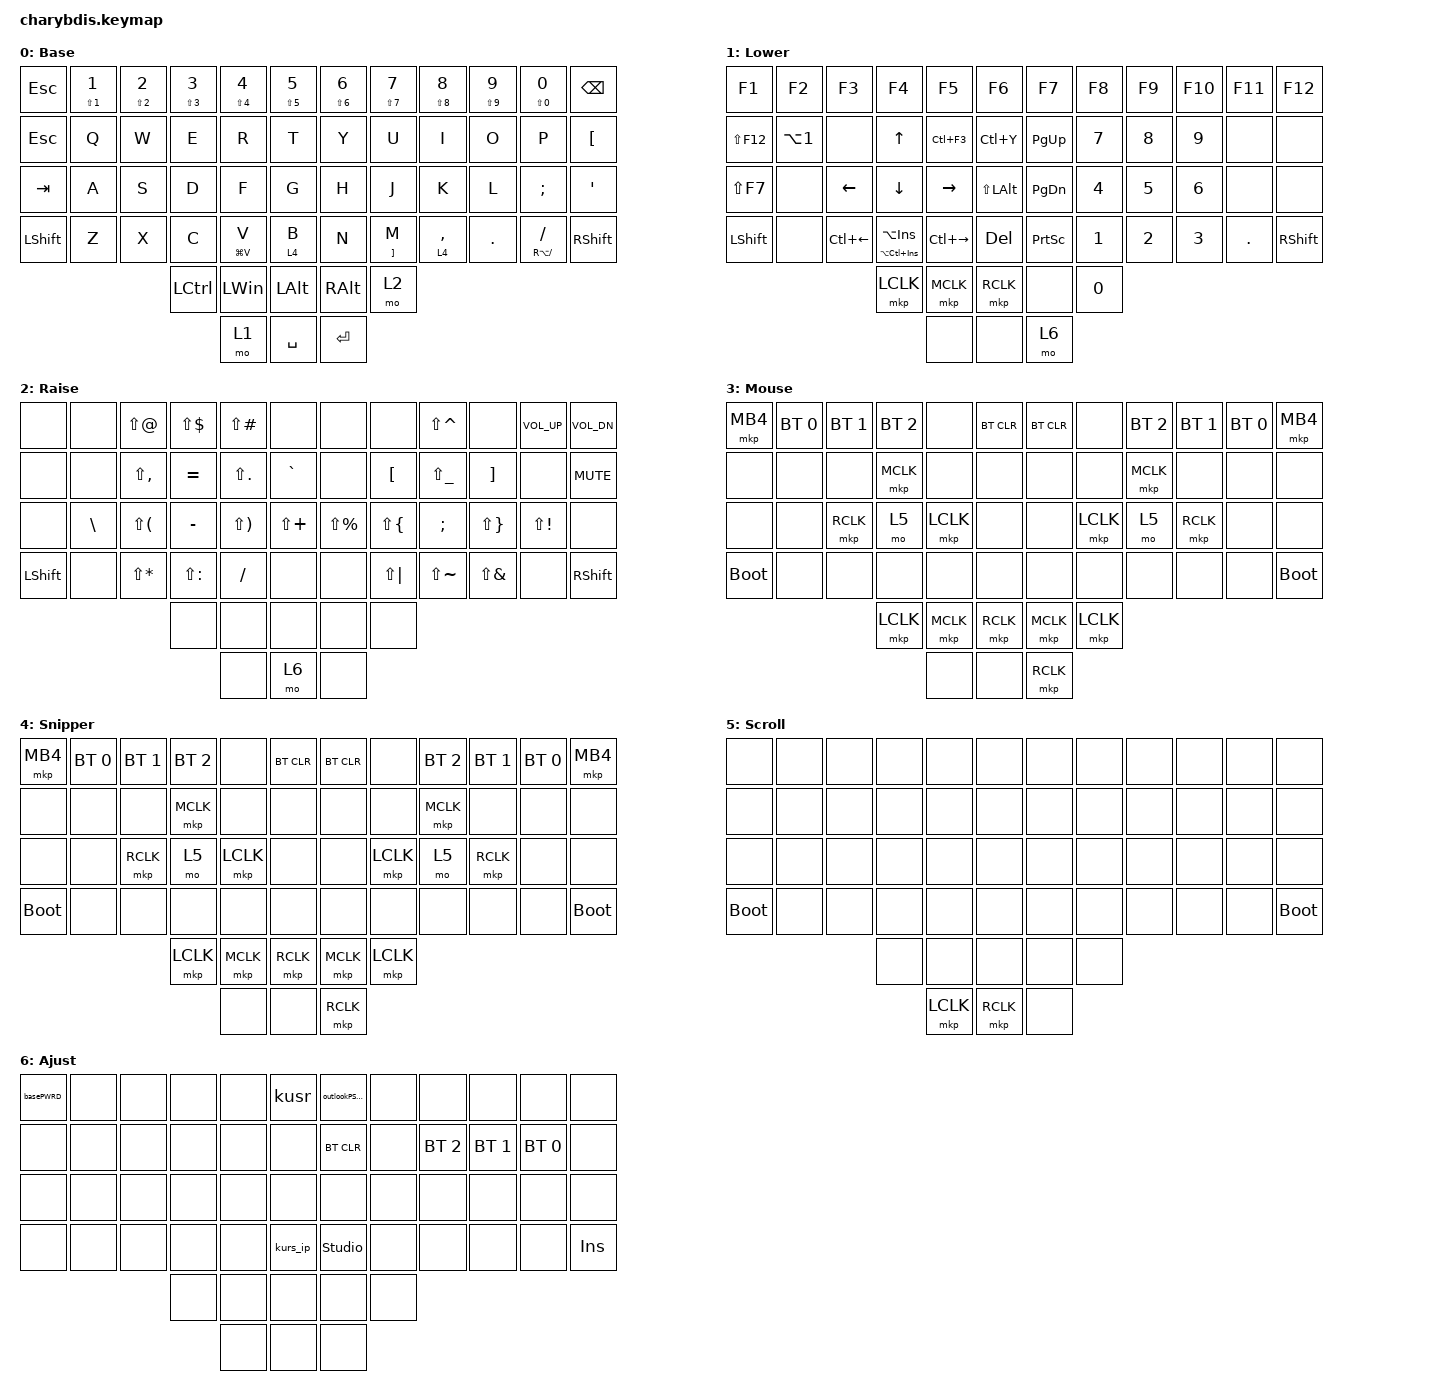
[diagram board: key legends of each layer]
#include <dt-bindings/zmk/mouse.h>
#include <behaviors.dtsi>
#include <dt-bindings/zmk/bt.h>
#include <dt-bindings/zmk/keys.h>
#include <dt-bindings/zmk/pointing.h>

&lt {
    tapping-term-ms = <250>;
    flavor = "balanced";
    quick-tap-ms = <175>;
};

/ {
    combos { compatible = "zmk,combos"; };

    macros {
        kusr: kusr {
            compatible = "zmk,behavior-macro";
            #binding-cells = <0>;
            bindings =
                <&kp BACKSPACE>,
                <&macro_wait_time 2000>,
                <&kp LS(G) &kp R &kp E &kp E &kp N &kp A &kp T &kp O &kp M &kp N2 &kp N0 &kp N2 &kp N0>,
                <&macro_wait_time 1000>,
                <&kp RET>;

            label = "KUSR";
        };

        kurs_ip: kurs_ip {
            compatible = "zmk,behavior-macro";
            #binding-cells = <0>;
            bindings =
                <&kp N1 &kp N9 &kp N2 &kp DOT &kp N1 &kp N6 &kp N8 &kp DOT &kp N1 &kp DOT &kp N1 &kp N7 &kp N4>,
                <&macro_wait_time 1000>,
                <&kp ENTER>;

            label = "KURS_IP";
        };

        basePWRD: basePWRD {
            compatible = "zmk,behavior-macro";
            #binding-cells = <0>;
            bindings =
                <&kp LS(G) &kp H &kp B &kp D &kp T &kp N &kp C &kp T &kp V &kp M &kp T &kp N3 &kp N2 &kp N1>,
                <&macro_wait_time 250>,
                <&kp ENTER>;

            label = "BASEPWRD";
        };

        outlookPSWD: outlookPSWD {
            compatible = "zmk,behavior-macro";
            #binding-cells = <0>;
            bindings =
                <&kp LS(W) &kp O &kp R &kp E &kp N1 &kp N0 &kp MINUS &kp LS(H) &kp I &kp L &kp L &kp MINUS &kp L &kp E &kp D &kp N6>,
                <&macro_wait_time 500>,
                <&kp ENTER>;

            label = "OUTLOOKPSWD";
        };
    };

    keymap {
        compatible = "zmk,keymap";

        Base {
            bindings = <
&kp ESC         &mt LS(NUMBER_1) NUMBER_1  &mt LS(N2) NUMBER_2  &mt LS(N3) NUMBER_3  &mt LS(N4) NUMBER_4  &mt LS(N5) N5    &mt LS(N6) NUMBER_6  &mt LS(N7) N7        &mt LS(N8) N8  &mt LS(N9) N9  &mt LS(N0) N0        &kp BACKSPACE
&kp ESC         &kp Q                      &kp W                &kp E                &kp R                &kp T            &kp Y                &kp U                &kp I          &kp O          &kp P                &kp LEFT_BRACKET
&kp TAB         &kp A                      &kp S                &kp D                &kp F                &kp G            &kp H                &kp J                &kp K          &kp L          &kp SEMI             &kp APOS
&kp LEFT_SHIFT  &kp Z                      &kp X                &kp C                &mt LG(V) V          &lt 4 B          &kp N                &mt RIGHT_BRACKET M  &lt 4 COMMA    &kp DOT        &mt RA(SLASH) SLASH  &kp RIGHT_SHIFT
                                                                &kp LCTRL            &kp LEFT_WIN         &kp LEFT_ALT     &kp RIGHT_ALT        &mo 2
                                                                                     &mo 1                &kp SPACE        &kp ENTER
            >;
        };

        Lower {
            bindings = <
&kp F1       &kp F2            &kp F3        &kp F4                         &kp F5         &kp F6          &kp F7           &kp F8  &kp F9  &kp F10  &kp F11  &kp F12
&kp LS(F12)  &kp LA(NUMBER_1)  &none         &kp UP                         &kp LC(F3)     &kp LC(Y)       &kp PAGE_UP      &kp N7  &kp N8  &kp N9   &none    &none
&kp LS(F7)   &none             &kp LEFT      &kp DOWN                       &kp RIGHT      &kp LS(LALT)    &kp PAGE_DOWN    &kp N4  &kp N5  &kp N6   &none    &none
&kp LSHFT    &none             &kp LC(LEFT)  &mt LA(LC(INSERT)) LA(INSERT)  &kp LC(RIGHT)  &kp DEL         &kp PRINTSCREEN  &kp N1  &kp N2  &kp N3   &kp DOT  &kp RSHFT
                                             &mkp LCLK                      &mkp MCLK      &mkp RCLK       &none            &kp N0
                                                                            &none          &none           &mo 6
            >;
        };

        Raise {
            bindings = <
&none      &none     &kp LS(AT)     &kp LS(DLLR)   &kp LS(POUND)  &none           &none          &none         &kp LS(CARET)  &none         &kp C_VOL_UP  &kp C_VOL_DN
&none      &none     &kp LS(COMMA)  &kp EQUAL      &kp LS(DOT)    &kp GRAVE       &none          &kp LBKT      &kp LS(UNDER)  &kp RBKT      &none         &kp K_MUTE
&none      &kp BSLH  &kp LS(LPAR)   &kp MINUS      &kp LS(RPAR)   &kp LS(PLUS)    &kp LS(PRCNT)  &kp LS(LBRC)  &kp SEMI       &kp LS(RBRC)  &kp LS(EXCL)  &none
&kp LSHFT  &none     &kp LS(STAR)   &kp LS(COLON)  &kp FSLH       &none           &none          &kp LS(PIPE)  &kp LS(TILDE)  &kp LS(AMPS)  &none         &kp RSHFT
                                    &none          &none          &none           &none          &none
                                                   &none          &mo 6           &none
            >;
        };

        Mouse {
            bindings = <
&mkp MB4     &bt BT_SEL 0  &bt BT_SEL 1  &bt BT_SEL 2  &none      &bt BT_CLR    &bt BT_CLR  &none      &bt BT_SEL 2  &bt BT_SEL 1  &bt BT_SEL 0  &mkp MB4
&none        &none         &none         &mkp MCLK     &none      &none         &none       &none      &mkp MCLK     &none         &none         &none
&none        &none         &mkp RCLK     &mo 5         &mkp LCLK  &none         &none       &mkp LCLK  &mo 5         &mkp RCLK     &none         &none
&bootloader  &none         &none         &none         &none      &none         &none       &none      &none         &none         &none         &bootloader
                                         &mkp LCLK     &mkp MCLK  &mkp RCLK     &mkp MCLK   &mkp LCLK
                                                       &none      &none         &mkp RCLK
            >;
        };

        Snipper {
            bindings = <
&mkp MB4     &bt BT_SEL 0  &bt BT_SEL 1  &bt BT_SEL 2  &none      &bt BT_CLR    &bt BT_CLR  &none      &bt BT_SEL 2  &bt BT_SEL 1  &bt BT_SEL 0  &mkp MB4
&none        &none         &none         &mkp MCLK     &none      &none         &none       &none      &mkp MCLK     &none         &none         &none
&none        &none         &mkp RCLK     &mo 5         &mkp LCLK  &none         &none       &mkp LCLK  &mo 5         &mkp RCLK     &none         &none
&bootloader  &none         &none         &none         &none      &none         &none       &none      &none         &none         &none         &bootloader
                                         &mkp LCLK     &mkp MCLK  &mkp RCLK     &mkp MCLK   &mkp LCLK
                                                       &none      &none         &mkp RCLK
            >;
        };

        Scroll {
            bindings = <
&none        &none  &none  &none  &none      &none        &none  &none  &none  &none  &none  &none
&none        &none  &none  &none  &none      &none        &none  &none  &none  &none  &none  &none
&none        &none  &none  &none  &none      &none        &none  &none  &none  &none  &none  &none
&bootloader  &none  &none  &none  &none      &none        &none  &none  &none  &none  &none  &bootloader
                           &none  &none      &none        &none  &none
                                  &mkp LCLK  &mkp RCLK    &none
            >;
        };

        Ajust {
            bindings = <
&basePWRD  &none  &none  &none  &none  &kusr       &outlookPSWD    &none  &none         &none         &none         &none
&none      &none  &none  &none  &none  &none       &bt BT_CLR      &none  &bt BT_SEL 2  &bt BT_SEL 1  &bt BT_SEL 0  &none
&none      &none  &none  &none  &none  &none       &none           &none  &none         &none         &none         &none
&none      &none  &none  &none  &none  &kurs_ip    &studio_unlock  &none  &none         &none         &none         &kp INSERT
                         &none  &none  &none       &none           &none
                                &none  &none       &none
            >;
        };
    };
};
